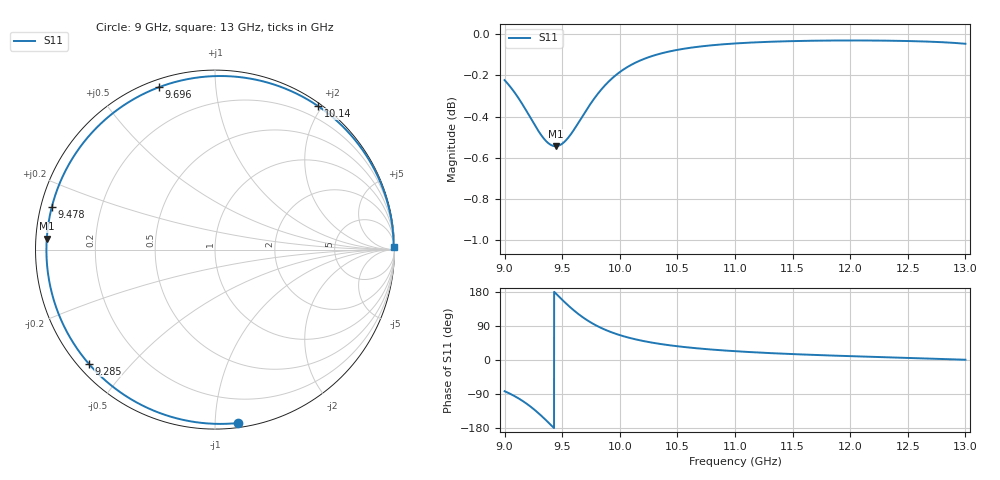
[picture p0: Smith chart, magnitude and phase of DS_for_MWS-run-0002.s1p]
! TOUCHSTONE file generated by CST DESIGN STUDIO
! Date and time: Tue Feb  4 15:59:37 2025
! Project name: C:\Work\MatlabApps\UnitCellOptimizationMatlab\CST\unitcell.cst
! Tree item: Tasks\Sweep1\SPara1\S-Parameters
! Header version: 2024
! Port assignment regex: !\s*Touchstone port\s*([0-9]+)\s*=\s*(CST MWS port|CST DES external port|CST DES block port)\s*(.+)\s* \(\"(.*)\"\)(\s*mode\s*([0-9]+))?.*
! Touchstone port assignment:
! Touchstone port 1 = CST DES external port 1 ("")
# GHz S MA R 50
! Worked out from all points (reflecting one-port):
!   4001 points, 9 GHz to 13 GHz, reference 50 ohm
!   lowest |S11| = -0.5 dB at 9.442 GHz (marker M1), VSWR 31.93, Z = 1.57 + j1.61 ohm
!   phase of S11 starts at -82 deg and turns -277 deg over the sweep
!   S11 on the Smith chart (normalised r, x): 9 GHz: 0.03, -1.14; 9.285 GHz: 0.03, -0.38; 9.478 GHz: 0.03, +0.13; 9.696 GHz: 0.03, +0.71; 10.14 GHz: 0.04, +1.95; 13 GHz: open
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9  0.9746 -82.3
9.087  0.9679 -95.4
9.159  0.9611 -108.6
9.224  0.9544 -122.7
9.285  0.9481 -138.0
9.33  0.9441 -150.3
9.369  0.9414 -161.6
9.406  0.9398 -172.7
9.442  0.9393 176.3
9.478  0.9398 165.4
9.5  0.9406 158.9
9.55  0.9436 144.5
9.598  0.9476 131.7
9.646  0.9522 120.0
9.696  0.9571 109.1
9.765  0.9635 96.1
9.846  0.97 83.5
9.921  0.9749 73.9
10  0.9791 65.7
10.139  0.9843 54.3
10.302  0.9883 44.7
10.5  0.9913 36.3
10.723  0.9933 29.4
11  0.9949 23.3
11.5  0.9962 15.6
12  0.9965 10.1
12.5  0.9962 5.5
13  0.9947 0.7
